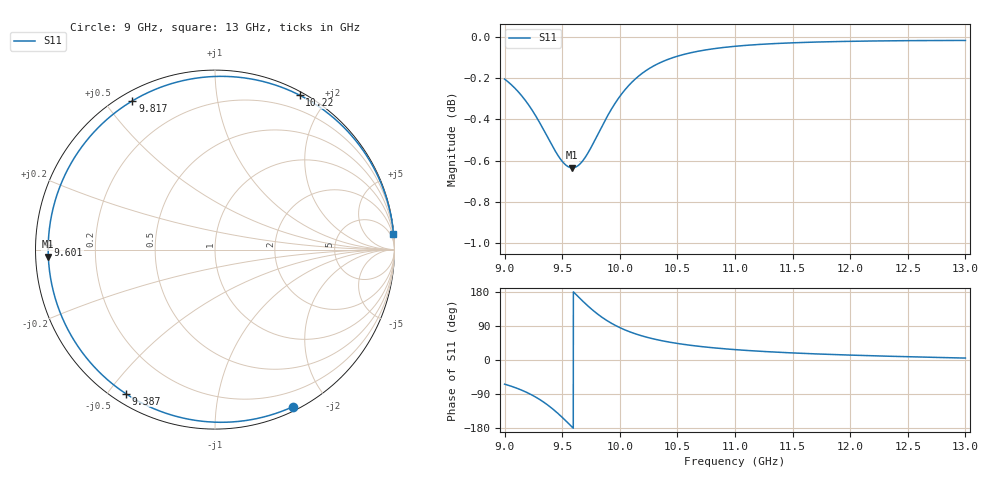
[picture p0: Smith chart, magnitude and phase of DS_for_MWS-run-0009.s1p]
! TOUCHSTONE file generated by CST DESIGN STUDIO
! Date and time: Tue Feb  4 18:07:21 2025
! Project name: C:\Work\MatlabApps\UnitCellOptimizationMatlab\CST\unitcell.cst
! Tree item: Tasks\Sweep1\SPara1\S-Parameters
! Header version: 2024
! Port assignment regex: !\s*Touchstone port\s*([0-9]+)\s*=\s*(CST MWS port|CST DES external port|CST DES block port)\s*(.+)\s* \(\"(.*)\"\)(\s*mode\s*([0-9]+))?.*
! Touchstone port assignment:
! Touchstone port 1 = CST DES external port 1 ("")
# GHz S MA R 50
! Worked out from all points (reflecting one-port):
!   4001 points, 9 GHz to 13 GHz, reference 50 ohm
!   lowest |S11| = -0.6 dB at 9.588 GHz (marker M1), VSWR 27.36, Z = 1.83 - j1.07 ohm
!   phase of S11 starts at -64 deg and turns -291 deg over the sweep
!   S11 on the Smith chart (normalised r, x): 9 GHz: 0.04, -1.61; 9.387 GHz: 0.04, -0.56; 9.601 GHz: 0.04, +0.01; 9.817 GHz: 0.04, +0.59; 10.22 GHz: 0.04, +1.69; 13 GHz: 0, +23
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9  0.9768 -63.7
9.048  0.9743 -68.2
9.117  0.97 -75.7
9.236  0.9603 -92.2
9.316  0.952 -106.5
9.387  0.944 -121.8
9.443  0.9379 -135.7
9.5  0.9329 -151.3
9.545  0.9303 -164.5
9.588  0.9295 -177.5
9.601  0.9296 178.5
9.656  0.9316 161.9
9.717  0.9366 144.3
9.767  0.942 131.0
9.817  0.948 119.0
9.858  0.9529 110.1
9.901  0.9577 101.7
10  0.9674 85.5
10.105  0.9751 72.3
10.22  0.9811 61.3
10.349  0.9858 51.9
10.5  0.9894 43.7
10.72  0.9926 35.0
11  0.9949 27.4
11.5  0.9968 18.6
12  0.9977 12.9
12.5  0.9981 8.7
13  0.9982 5.1
